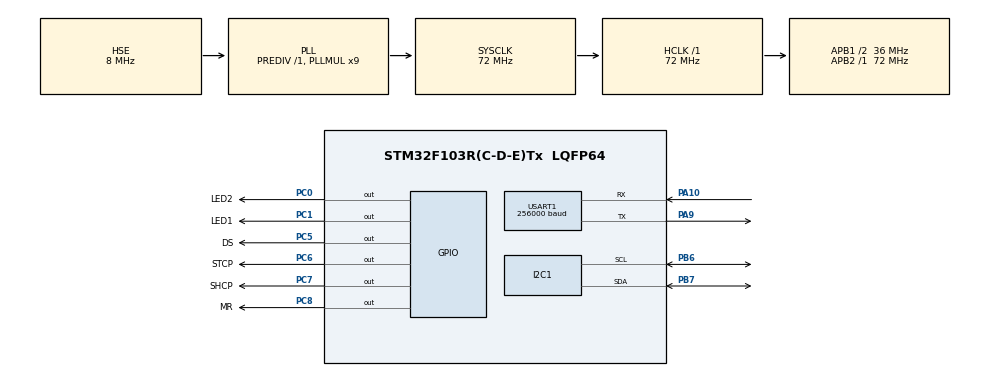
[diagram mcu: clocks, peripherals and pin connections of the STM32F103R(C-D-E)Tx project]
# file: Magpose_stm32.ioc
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Dma.Request0=USART1_TX
Dma.USART1_TX.0.Direction=DMA_MEMORY_TO_PERIPH
Dma.USART1_TX.0.Instance=DMA1_Channel4
Dma.USART1_TX.0.MemDataAlignment=DMA_MDATAALIGN_BYTE
Dma.USART1_TX.0.MemInc=DMA_MINC_ENABLE
Dma.USART1_TX.0.Mode=DMA_NORMAL
Dma.USART1_TX.0.PeriphDataAlignment=DMA_PDATAALIGN_BYTE
Dma.USART1_TX.0.PeriphInc=DMA_PINC_DISABLE
Dma.USART1_TX.0.Priority=DMA_PRIORITY_HIGH
Mcu.Family=STM32F1
Mcu.Name=STM32F103R(C-D-E)Tx
Mcu.Package=LQFP64
NVIC.DMA1_Channel4_IRQn=true\:0\:0\:false\:false\:true\:false\:true
NVIC.PriorityGroup=NVIC_PRIORITYGROUP_4
NVIC.USART1_IRQn=true\:0\:0\:false\:false\:true\:true\:true
PA10.Mode=Asynchronous
PA10.Signal=USART1_RX
PA13.Mode=Serial_Wire
PA13.Signal=SYS_JTMS-SWDIO
PA14.Mode=Serial_Wire
PA14.Signal=SYS_JTCK-SWCLK
PA9.Mode=Asynchronous
PA9.Signal=USART1_TX
PB6.Mode=I2C
PB6.Signal=I2C1_SCL
PB7.Mode=I2C
PB7.Signal=I2C1_SDA
PC0.GPIO_Label=LED2
PC0.PinState=GPIO_PIN_SET
PC0.Signal=GPIO_Output
PC1.GPIO_Label=LED1
PC1.GPIO_PuPd=GPIO_NOPULL
PC1.PinState=GPIO_PIN_SET
PC1.Signal=GPIO_Output
PC14-OSC32_IN.Mode=LSE-External-Oscillator
PC14-OSC32_IN.Signal=RCC_OSC32_IN
PC15-OSC32_OUT.Mode=LSE-External-Oscillator
PC15-OSC32_OUT.Signal=RCC_OSC32_OUT
PC5.GPIO_Label=DS
PC5.GPIO_Speed=GPIO_SPEED_FREQ_HIGH
PC5.Signal=GPIO_Output
PC6.GPIO_Label=STCP
PC6.GPIO_Speed=GPIO_SPEED_FREQ_HIGH
PC6.Signal=GPIO_Output
PC7.GPIO_Label=SHCP
PC7.GPIO_Speed=GPIO_SPEED_FREQ_HIGH
PC7.Signal=GPIO_Output
PC8.GPIO_Label=MR
PC8.GPIO_Speed=GPIO_SPEED_FREQ_HIGH
PC8.Signal=GPIO_Output
PD0-OSC_IN.Mode=HSE-External-Oscillator
PD0-OSC_IN.Signal=RCC_OSC_IN
PD1-OSC_OUT.Mode=HSE-External-Oscillator
PD1-OSC_OUT.Signal=RCC_OSC_OUT
ProjectManager.HeapSize=0x200
ProjectManager.StackSize=0x400
ProjectManager.TargetToolchain=MDK-ARM V5.32
RCC.AHBFreq_Value=72000000
RCC.APB1CLKDivider=RCC_HCLK_DIV2
RCC.APB1Freq_Value=36000000
RCC.APB1TimFreq_Value=72000000
RCC.APB2Freq_Value=72000000
RCC.APB2TimFreq_Value=72000000
RCC.HCLKFreq_Value=72000000
RCC.PLLMUL=RCC_PLL_MUL9
RCC.PLLSourceVirtual=RCC_PLLSOURCE_HSE
RCC.SYSCLKFreq_VALUE=72000000
RCC.SYSCLKSource=RCC_SYSCLKSOURCE_PLLCLK
RCC.USBFreq_Value=72000000
USART1.BaudRate=256000
USART1.VirtualMode=VM_ASYNC
board=custom

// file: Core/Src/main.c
/* USER CODE BEGIN Header */
/**
  ******************************************************************************
  * @file           : main.c
  * @brief          : Main program body
  ******************************************************************************
  * @attention
  *
  * Copyright (c) 2024 STMicroelectronics.
  * All rights reserved.
  *
  * This software is licensed under terms that can be found in the LICENSE file
  * in the root directory of this software component.
  * If no LICENSE file comes with this software, it is provided AS-IS.
  *
  ******************************************************************************
  */
/* USER CODE END Header */
#include "main.h"

/* USER CODE BEGIN Includes */
#include <stdio.h>
#include <string.h>
#include "LIS3MDL.h"

/* USER CODE END Includes */

I2C_HandleTypeDef hi2c1;

UART_HandleTypeDef huart1;
DMA_HandleTypeDef hdma_usart1_tx;

/* USER CODE BEGIN PV */

#define REFRESH_DELAY 	10
#define SENSOR_NUM 			256

//float magValue[3];
//float temp;

uint8_t Charbuf[32] = {0};  //������
uint32_t Numbuf[8] = {0};
float debugbuf[3*4];

int16_t sendbuf[2000];

/* USER CODE END PV */

void SystemClock_Config(void);
static void MX_GPIO_Init(void);
static void MX_I2C1_Init(void);
static void MX_DMA_Init(void);
static void MX_USART1_UART_Init(void);
/* USER CODE BEGIN PFP */
void HexToAscii(uint8_t *src, char *dest, int len);
void HexToNum(uint8_t *src, int len);

/* USER CODE END PFP */

/* USER CODE BEGIN 0 */
#define 	WARNING_LED() 			HAL_GPIO_WritePin(LED2_GPIO_Port, LED2_Pin, GPIO_PIN_RESET)
#define		HC595_CLEAR_ON()		HAL_GPIO_WritePin(MR_GPIO_Port, MR_Pin, GPIO_PIN_RESET)
#define		HC595_CLEAR_OFF()		HAL_GPIO_WritePin(MR_GPIO_Port, MR_Pin, GPIO_PIN_SET)
#define		HC595_RCK_HIGH()		HAL_GPIO_WritePin(STCP_GPIO_Port, STCP_Pin, GPIO_PIN_SET)
#define		HC595_RCK_LOW()			HAL_GPIO_WritePin(STCP_GPIO_Port, STCP_Pin, GPIO_PIN_RESET)
#define		HC595_SCK_HIGH()		HAL_GPIO_WritePin(SHCP_GPIO_Port, SHCP_Pin, GPIO_PIN_SET)
#define		HC595_SCK_LOW()			HAL_GPIO_WritePin(SHCP_GPIO_Port, SHCP_Pin, GPIO_PIN_RESET)
#define		HC595_DS_HIGH()			HAL_GPIO_WritePin(DS_GPIO_Port, DS_Pin, GPIO_PIN_SET)
#define		HC595_DS_LOW()			HAL_GPIO_WritePin(DS_GPIO_Port, DS_Pin, GPIO_PIN_RESET)

/* USER CODE END 0 */

int main(void)
{
  /* USER CODE BEGIN 1 */

	uint16_t p=0;
	LIS3MDL_t sensor;

  /* USER CODE END 1 */

  /* MCU Configuration--------------------------------------------------------*/

  /* Reset of all peripherals, Initializes the Flash interface and the Systick. */
  HAL_Init();

  /* Configure the system clock */
  SystemClock_Config();

  /* Initialize all configured peripherals */
  MX_GPIO_Init();
  MX_I2C1_Init();
  MX_DMA_Init();
  MX_USART1_UART_Init();

  /* Infinite loop */
  /* USER CODE BEGIN WHILE */
	HC595_CLEAR_ON();
	HAL_Delay(1);
	HC595_CLEAR_OFF();
	HC595_DS_HIGH();
	HAL_Delay(1);
	for(uint16_t u=0; u<SENSOR_NUM; u++)
	{
		HC595_SCK_HIGH();
		HC595_RCK_HIGH();
		HC595_DS_LOW();
		HC595_SCK_LOW();
		HC595_RCK_LOW();
//		HAL_Delay(1);

		if(LIS3MDL_Init(&sensor, &hi2c1, LIS3MDL_Device_1, LIS3MDL_Scale_16G, LIS3MDL_MODE_ULTRAHIGH, LIS3MDL_ODR_7) != HAL_OK)
				WARNING_LED();
		HAL_Delay(1);
	}

  while (1)
  {
		HAL_Delay(REFRESH_DELAY);
		HAL_GPIO_TogglePin(LED1_GPIO_Port, LED1_Pin);

		HC595_CLEAR_ON();
		HC595_CLEAR_OFF();
		HC595_DS_HIGH();
		for(uint16_t u=0; u<SENSOR_NUM; u++)
		{
			HC595_SCK_HIGH();
			HC595_RCK_HIGH();
			HC595_DS_LOW();
			HC595_SCK_LOW();
			HC595_RCK_LOW();

			if(LIS3MDL_ReadMag(&sensor, &hi2c1) != HAL_OK)
				WARNING_LED();
			p = u * 5;
			sendbuf[p+0] = 0xaaaa; sendbuf[p+1] = u; sendbuf[p+2] = sensor.mag_raw[0]; sendbuf[p+3] = sensor.mag_raw[1]; sendbuf[p+4] = sensor.mag_raw[2];

//			if(u==15)
//			{debugbuf[0]=sensor.mag[0]; debugbuf[1]=sensor.mag[1]; debugbuf[2]=sensor.mag[2];}
//			else if(u==10)
//			{debugbuf[3]=sensor.mag[0]; debugbuf[4]=sensor.mag[1]; debugbuf[5]=sensor.mag[2];}
//			else if(u==14)
//			{debugbuf[6]=sensor.mag[0]; debugbuf[7]=sensor.mag[1]; debugbuf[8]=sensor.mag[2];}
//			else if(u==15)
//			{debugbuf[9]=sensor.mag[0]; debugbuf[10]=sensor.mag[1]; debugbuf[11]=sensor.mag[2];}
//			HAL_Delay(50);

			sensor.mag_raw[0] = 0; sensor.mag_raw[1] = 0; sensor.mag_raw[2] = 0;
			sensor.mag[0] = 0; sensor.mag[1] = 0; sensor.mag[2] = 0;
		}

		HAL_UART_Transmit_DMA(&huart1, (uint8_t *)&sendbuf, SENSOR_NUM*5*2);  // sensornum * datalen(5) * 2. "*2": sendbuf is in uint16_t
		HAL_GPIO_TogglePin(LED1_GPIO_Port, LED1_Pin);

    /* USER CODE END WHILE */

  }
}

void SystemClock_Config(void)
{
  RCC_OscInitTypeDef RCC_OscInitStruct = {0};
  RCC_ClkInitTypeDef RCC_ClkInitStruct = {0};

  /** Initializes the RCC Oscillators according to the specified parameters
  * in the RCC_OscInitTypeDef structure.
  */
  RCC_OscInitStruct.OscillatorType = RCC_OSCILLATORTYPE_HSE;
  RCC_OscInitStruct.HSEState = RCC_HSE_ON;
  RCC_OscInitStruct.HSEPredivValue = RCC_HSE_PREDIV_DIV1;
  RCC_OscInitStruct.HSIState = RCC_HSI_ON;
  RCC_OscInitStruct.PLL.PLLState = RCC_PLL_ON;
  RCC_OscInitStruct.PLL.PLLSource = RCC_PLLSOURCE_HSE;
  RCC_OscInitStruct.PLL.PLLMUL = RCC_PLL_MUL9;
  if (HAL_RCC_OscConfig(&RCC_OscInitStruct) != HAL_OK)
  {
    Error_Handler();
  }
  /** Initializes the CPU, AHB and APB buses clocks
  */
  RCC_ClkInitStruct.ClockType = RCC_CLOCKTYPE_HCLK|RCC_CLOCKTYPE_SYSCLK
                              |RCC_CLOCKTYPE_PCLK1|RCC_CLOCKTYPE_PCLK2;
  RCC_ClkInitStruct.SYSCLKSource = RCC_SYSCLKSOURCE_PLLCLK;
  RCC_ClkInitStruct.AHBCLKDivider = RCC_SYSCLK_DIV1;
  RCC_ClkInitStruct.APB1CLKDivider = RCC_HCLK_DIV2;
  RCC_ClkInitStruct.APB2CLKDivider = RCC_HCLK_DIV1;

  if (HAL_RCC_ClockConfig(&RCC_ClkInitStruct, FLASH_LATENCY_2) != HAL_OK)
  {
    Error_Handler();
  }
}

static void MX_I2C1_Init(void)
{

  hi2c1.Instance = I2C1;
  hi2c1.Init.ClockSpeed = 100000;
  hi2c1.Init.DutyCycle = I2C_DUTYCYCLE_2;
  hi2c1.Init.OwnAddress1 = 0;
  hi2c1.Init.AddressingMode = I2C_ADDRESSINGMODE_7BIT;
  hi2c1.Init.DualAddressMode = I2C_DUALADDRESS_DISABLE;
  hi2c1.Init.OwnAddress2 = 0;
  hi2c1.Init.GeneralCallMode = I2C_GENERALCALL_DISABLE;
  hi2c1.Init.NoStretchMode = I2C_NOSTRETCH_DISABLE;
  if (HAL_I2C_Init(&hi2c1) != HAL_OK)
  {
    Error_Handler();
  }

}

static void MX_USART1_UART_Init(void)
{

  huart1.Instance = USART1;
  huart1.Init.BaudRate = 256000;
  huart1.Init.WordLength = UART_WORDLENGTH_8B;
  huart1.Init.StopBits = UART_STOPBITS_1;
  huart1.Init.Parity = UART_PARITY_NONE;
  huart1.Init.Mode = UART_MODE_TX_RX;
  huart1.Init.HwFlowCtl = UART_HWCONTROL_NONE;
  huart1.Init.OverSampling = UART_OVERSAMPLING_16;
  if (HAL_UART_Init(&huart1) != HAL_OK)
  {
    Error_Handler();
  }

}

static void MX_DMA_Init(void)
{

  /* DMA controller clock enable */
  __HAL_RCC_DMA1_CLK_ENABLE();

  /* DMA interrupt init */
  /* DMA1_Channel4_IRQn interrupt configuration */
  HAL_NVIC_SetPriority(DMA1_Channel4_IRQn, 0, 0);
  HAL_NVIC_EnableIRQ(DMA1_Channel4_IRQn);

}

static void MX_GPIO_Init(void)
{
  GPIO_InitTypeDef GPIO_InitStruct = {0};

  /* GPIO Ports Clock Enable */
  __HAL_RCC_GPIOC_CLK_ENABLE();
  __HAL_RCC_GPIOD_CLK_ENABLE();
  __HAL_RCC_GPIOA_CLK_ENABLE();
  __HAL_RCC_GPIOB_CLK_ENABLE();

  /*Configure GPIO pin Output Level */
  HAL_GPIO_WritePin(GPIOC, LED2_Pin|LED1_Pin, GPIO_PIN_SET);

  /*Configure GPIO pin Output Level */
  HAL_GPIO_WritePin(GPIOC, DS_Pin|STCP_Pin|SHCP_Pin|MR_Pin, GPIO_PIN_RESET);

  /*Configure GPIO pins : LED2_Pin LED1_Pin */
  GPIO_InitStruct.Pin = LED2_Pin|LED1_Pin;
  GPIO_InitStruct.Mode = GPIO_MODE_OUTPUT_PP;
  GPIO_InitStruct.Pull = GPIO_NOPULL;
  GPIO_InitStruct.Speed = GPIO_SPEED_FREQ_LOW;
  HAL_GPIO_Init(GPIOC, &GPIO_InitStruct);

  /*Configure GPIO pins : DS_Pin STCP_Pin SHCP_Pin MR_Pin */
  GPIO_InitStruct.Pin = DS_Pin|STCP_Pin|SHCP_Pin|MR_Pin;
  GPIO_InitStruct.Mode = GPIO_MODE_OUTPUT_PP;
  GPIO_InitStruct.Pull = GPIO_NOPULL;
  GPIO_InitStruct.Speed = GPIO_SPEED_FREQ_HIGH;
  HAL_GPIO_Init(GPIOC, &GPIO_InitStruct);

}

/* USER CODE BEGIN 4 */

void HexToAscii(uint8_t *src, char *dest, int len)
{
	char dh,dl;  //?????????
	int i;
	for(i = 0; i < len; i++)
	{
		dh = '0' + src[i] / 16;
		dl = '0' + src[i] % 16;
		if(dh > '9')
		{
					 dh = dh - '9' - 1 + 'A'; // ?? dh= dh+ 7;
		}
		if(dl > '9')
		{
					 dl = dl - '9' - 1 + 'A'; // ??dl = dl + 7;
		}
		dest[2*i] = dh;
		dest[2*i+1] = dl;
	}
	dest[2*i] = '\0';
}

int converter(char src)
{
	switch(src)
	{
		case '0': return 0;
		case '1': return 1;
		case '2': return 2;
		case '3': return 3;
		case '4': return 4;
		case '5': return 5;
		case '6': return 6;
		case '7': return 7;
		case '8': return 8;
		case '9': return 9;
		case 'A': return 10;
		case 'B': return 11;
		case 'C': return 12;
		case 'D': return 13;
		case 'E': return 14;
		case 'F': return 15;
		default: return 0;
	}
}
void HexToNum(uint8_t *src, int len)
{
	char dh,dl;
	char asc[32];
	int i;
	for(i = 0; i < len; i++)
	{
		dh = '0' + src[i] / 16;
		dl = '0' + src[i] % 16;
		if(dh > '9')
		{
			dh = dh - '9' - 1 + 'A'; // ?? dh= dh+ 7;
		}
		if(dl > '9')
		{
			dl = dl - '9' - 1 + 'A'; // ??dl = dl + 7;
		}
		asc[2*i] = dh;
		asc[2*i+1] = dl;
	}
	for(i = 0; i < len; i++)
	{
		Numbuf[i/2] = converter(asc[i*2])*16 + converter(asc[i*2+1]) + converter(asc[i*2+2])*16*16*16 + converter(asc[i*2+3])*16*16;
		i++;
	}
}

/* USER CODE END 4 */

void Error_Handler(void)
{
  __disable_irq();
  while (1)
  {
  }
}
